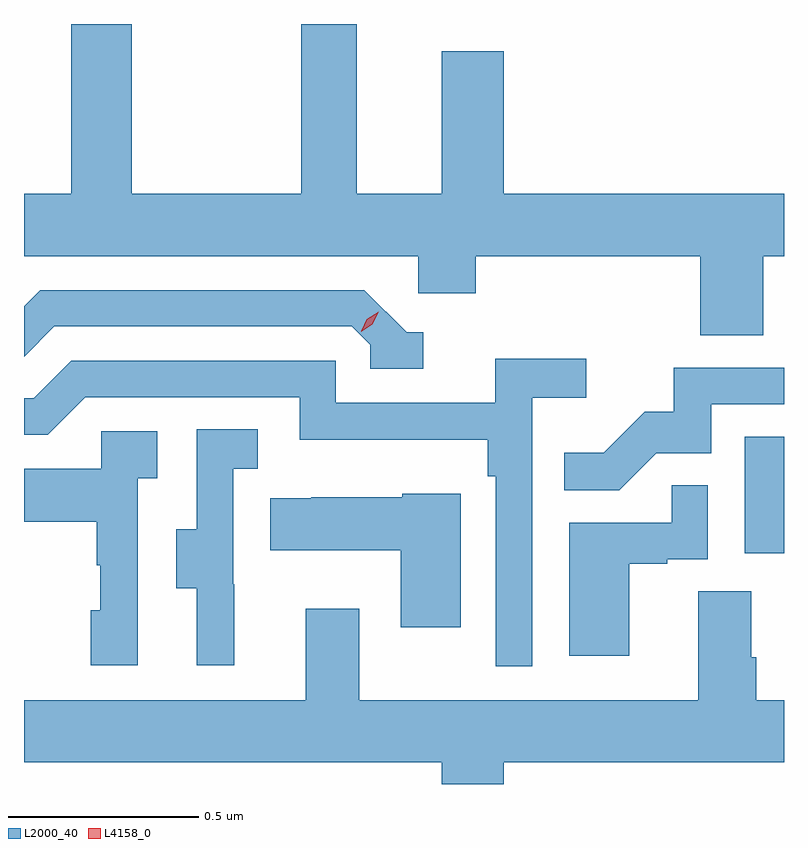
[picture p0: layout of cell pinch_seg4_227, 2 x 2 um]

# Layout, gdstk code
import gdstk
lib = gdstk.Library(unit=1e-6, precision=1e-09)
def R(c, l, rs):  # rectangles x0, y0, x1, y1
    for r in rs: c.add(gdstk.rectangle(r[:2], r[2:], *l))
def P(c, l, *ps):  # polygons
    for p in ps: c.add(gdstk.Polygon(p, *l))
L2000_40 = (2000, 40)
L4158_0 = (4158, 0)

pinch_seg4_227 = lib.new_cell('pinch_seg4_227')
R(pinch_seg4_227, L2000_40, [(1004.966,828.006,1005.069,828.313)])
P(pinch_seg4_227, L2000_40, [(1004.332,829.327),(1004.168,829.327),(1004.168,828.952),(1003.945,828.952),(1003.945,829.399),(1003.798,829.399),(1003.798,828.952),(1003.353,828.952),(1003.353,829.399),(1003.193,829.399),(1003.193,828.952),(1003.069,828.952),(1003.069,828.788),(1004.106,828.788),(1004.106,828.69),(1004.258,828.69),(1004.258,828.788),(1004.849,828.788),(1004.849,828.58),(1005.014,828.58),(1005.014,828.788),(1005.069,828.788),(1005.069,828.952),(1004.332,828.952)],
  [(1004.119,828.588),(1004.076,828.588),(1003.965,828.699),(1003.112,828.699),(1003.069,828.656),(1003.069,828.523),(1003.149,828.603),(1003.932,828.603),(1003.98,828.555),(1003.98,828.492),(1004.119,828.492)],
  [(1004.406,828.416),(1004.548,828.416),(1004.548,828.518),(1004.309,828.518),(1004.309,828.402),(1003.89,828.402),(1003.89,828.513),(1003.193,828.513),(1003.094,828.414),(1003.069,828.414),(1003.069,828.318),(1003.131,828.318),(1003.23,828.417),(1003.794,828.417),(1003.794,828.305),(1004.29,828.305),(1004.29,828.209),(1004.31,828.209),(1004.31,827.709),(1004.406,827.709)],
  [(1004.733,828.27),(1004.877,828.27),(1004.877,828.399),(1005.069,828.399),(1005.069,828.495),(1004.779,828.495),(1004.779,828.378),(1004.702,828.378),(1004.595,828.271),(1004.491,828.271),(1004.491,828.172),(1004.635,828.172)],
  [(1003.622,827.925),(1003.62,827.925),(1003.62,828.229),(1003.684,828.229),(1003.684,828.332),(1003.524,828.332),(1003.524,828.069),(1003.469,828.069),(1003.469,827.914),(1003.523,827.914),(1003.523,827.712),(1003.622,827.712)],
  [(1003.368,828.203),(1003.42,828.203),(1003.42,828.327),(1003.272,828.327),(1003.272,828.229),(1003.069,828.229),(1003.069,828.089),(1003.26,828.089),(1003.26,827.975),(1003.27,827.975),(1003.27,827.856),(1003.244,827.856),(1003.244,827.712),(1003.368,827.712)],
  [(1004.662,827.979),(1004.762,827.979),(1004.762,827.991),(1004.868,827.991),(1004.868,828.185),(1004.773,828.185),(1004.773,828.087),(1004.504,828.087),(1004.504,827.736),(1004.662,827.736)],
  [(1004.218,828.163),(1004.064,828.163),(1004.064,828.154),(1003.825,828.154),(1003.825,828.151),(1003.717,828.151),(1003.717,828.014),(1004.06,828.014),(1004.06,827.811),(1004.218,827.811)],
  [(1004.332,827.456),(1005.069,827.456),(1005.069,827.62),(1004.996,827.62),(1004.996,827.732),(1004.983,827.732),(1004.983,827.906),(1004.843,827.906),(1004.843,827.62),(1003.951,827.62),(1003.951,827.86),(1003.811,827.86),(1003.811,827.62),(1003.069,827.62),(1003.069,827.456),(1004.168,827.456),(1004.168,827.399),(1004.332,827.399)])
P(pinch_seg4_227, L4158_0, [(1003.956,828.589),(1003.956,828.59),(1003.971,828.622),(1004.002,828.642),(1004.002,828.642),(1004.002,828.642),(1003.986,828.609),(1003.956,828.589)])

lib.write_gds('pinch_seg4_227.gds')
